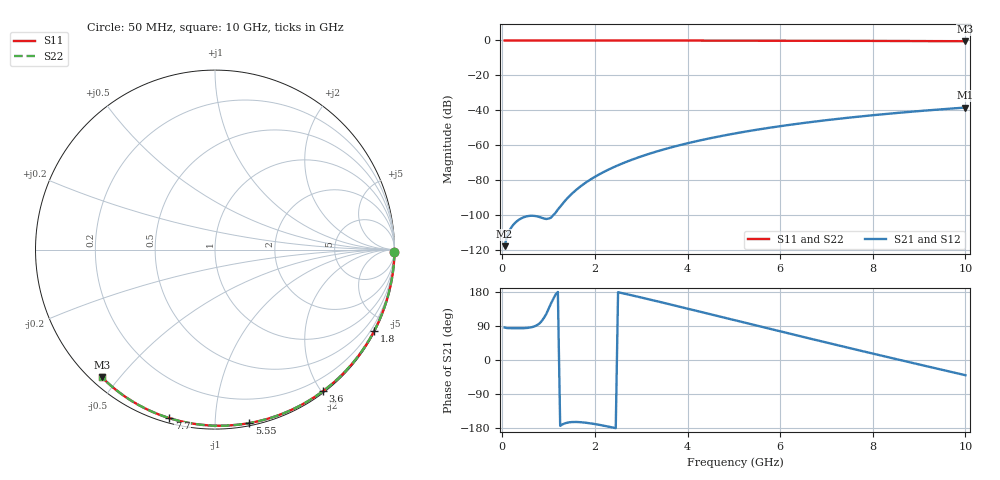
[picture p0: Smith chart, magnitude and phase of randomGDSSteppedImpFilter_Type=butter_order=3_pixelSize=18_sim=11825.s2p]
! freq	dB(S11)	phase(S11)	dB(S12)	phase(S12)
!  dB(S21)	phase(S21)	dB(S22)	phase(S22)
!S-par simulation data
#  GHz  S  DB  R 50
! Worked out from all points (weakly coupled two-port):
!   200 points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, 50 MHz to 10 GHz, reference 50 ohm
!   highest |S21| = -38.39 dB at 10 GHz (marker M1); lowest = -117.7 dB at 50 MHz (marker M2)
!   lowest |S11| = -0.4 dB at 10 GHz (marker M3), VSWR 39.04, Z = 1.54 - j22.4 ohm
!   |S11| at or under -10 dB: nowhere
!   |S22| runs from -0.4 to 0.0 dB; largest |S21 - S12| = 0
!   S11 on the Smith chart (normalised r, x): 50 MHz: open; 1.8 GHz: 0.04, -4.17; 3.6 GHz: 0.02, -2.02; 5.55 GHz: 0.02, -1.22; 7.7 GHz: 0.02, -0.76; 10 GHz: 0.03, -0.45
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0.05  -0.00 -0.8  -117.70 85.7  -117.70 85.7  -0.00 -0.8
0.9  -0.02 -13.6  -101.88 111.3  -101.88 111.3  -0.02 -13.6
1.75  -0.03 -26.2  -82.30 -164.8  -82.30 -164.8  -0.03 -26.2
1.8  -0.03 -27.0  -81.36 -165.5  -81.36 -165.5  -0.03 -27.0
1.85  -0.04 -27.7  -80.48 -166.2  -80.48 -166.2  -0.04 -27.7
1.9  -0.04 -28.4  -79.62 -167.1  -79.62 -167.1  -0.04 -28.4
2.05  -0.04 -30.6  -77.24 -170.1  -77.24 -170.1  -0.04 -30.6
2.25  -0.04 -33.6  -74.44 -174.7  -74.44 -174.7  -0.04 -33.6
2.45  -0.05 -36.5  -71.97 -179.8  -71.97 -179.8  -0.05 -36.5
2.65  -0.05 -39.3  -69.75 174.8  -69.75 174.8  -0.05 -39.3
3  -0.06 -44.3  -66.34 165.0  -66.34 165.0  -0.06 -44.3
3.4  -0.07 -50.0  -63.00 153.3  -63.00 153.3  -0.07 -50.0
3.6  -0.07 -52.8  -61.51 147.4  -61.51 147.4  -0.07 -52.8
4.3  -0.09 -62.3  -57.00 126.6  -57.00 126.6  -0.09 -62.3
5.05  -0.11 -72.3  -53.08 104.1  -53.08 104.1  -0.11 -72.3
5.55  -0.13 -78.8  -50.84 89.1  -50.84 89.1  -0.13 -78.8
6.1  -0.15 -85.8  -48.67 72.7  -48.67 72.7  -0.15 -85.8
6.7  -0.18 -93.2  -46.57 54.9  -46.57 54.9  -0.18 -93.2
7.7  -0.24 -105.2  -43.57 25.6  -43.57 25.6  -0.24 -105.2
8.35  -0.29 -112.8  -41.90 6.8  -41.90 6.8  -0.29 -112.8
9.15  -0.36 -122.0  -40.08 -16.0  -40.08 -16.0  -0.36 -122.0
10  -0.45 -131.7  -38.39 -40.1  -38.39 -40.1  -0.45 -131.7
